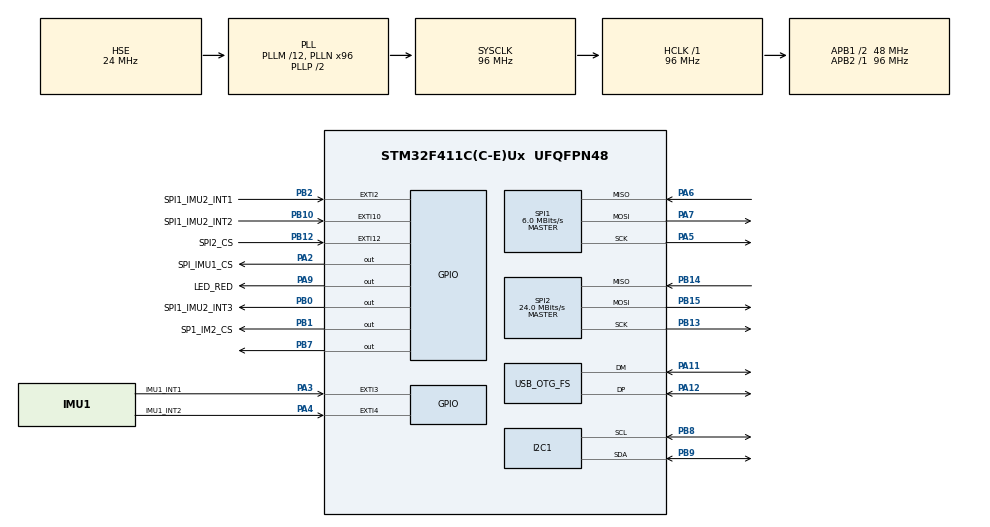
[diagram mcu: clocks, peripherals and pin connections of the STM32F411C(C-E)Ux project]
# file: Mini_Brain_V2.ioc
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Mcu.Family=STM32F4
Mcu.Name=STM32F411C(C-E)Ux
Mcu.Package=UFQFPN48
NVIC.OTG_FS_IRQn=true\:0\:0\:false\:false\:true\:false\:true\:true
NVIC.PriorityGroup=NVIC_PRIORITYGROUP_4
NVIC.SPI1_IRQn=true\:0\:0\:false\:false\:true\:true\:true\:true
PA11.Mode=Device_Only
PA11.Signal=USB_OTG_FS_DM
PA12.Mode=Device_Only
PA12.Signal=USB_OTG_FS_DP
PA13.Mode=Trace_Asynchronous_SW
PA13.Signal=SYS_JTMS-SWDIO
PA14.Mode=Trace_Asynchronous_SW
PA14.Signal=SYS_JTCK-SWCLK
PA2.GPIO_Label=SPI_IMU1_CS
PA2.GPIO_PuPd=GPIO_NOPULL
PA2.GPIO_Speed=GPIO_SPEED_FREQ_LOW
PA2.PinState=GPIO_PIN_RESET
PA2.Signal=GPIO_Output
PA3.GPIO_Label=IMU1_INT1
PA3.Signal=GPXTI3
PA4.GPIO_Label=IMU1_INT2
PA4.Signal=GPXTI4
PA5.GPIO_Speed=GPIO_SPEED_FREQ_LOW
PA5.Mode=Full_Duplex_Master
PA5.Signal=SPI1_SCK
PA6.GPIO_Speed=GPIO_SPEED_FREQ_LOW
PA6.Mode=Full_Duplex_Master
PA6.Signal=SPI1_MISO
PA7.GPIO_Speed=GPIO_SPEED_FREQ_LOW
PA7.Mode=Full_Duplex_Master
PA7.Signal=SPI1_MOSI
PA9.GPIO_Label=LED_RED
PA9.Signal=GPIO_Output
PB0.GPIO_Label=SPI1_IMU2_INT3
PB0.Signal=GPIO_Output
PB1.GPIO_Label=SP1_IM2_CS
PB1.GPIO_Speed=GPIO_SPEED_FREQ_LOW
PB1.PinState=GPIO_PIN_SET
PB1.Signal=GPIO_Output
PB10.GPIO_Label=SPI1_IMU2_INT2
PB10.Signal=GPXTI10
PB12.GPIO_Label=SPI2_CS
PB12.Signal=GPXTI12
PB13.Mode=Full_Duplex_Master
PB13.Signal=SPI2_SCK
PB14.Mode=Full_Duplex_Master
PB14.Signal=SPI2_MISO
PB15.Mode=Full_Duplex_Master
PB15.Signal=SPI2_MOSI
PB2.GPIO_Label=SPI1_IMU2_INT1
PB2.Signal=GPXTI2
PB3.Mode=Trace_Asynchronous_SW
PB3.Signal=SYS_JTDO-SWO
PB6.Signal=USART1_TX
PB7.Signal=GPIO_Output
PB8.Mode=I2C
PB8.Signal=I2C1_SCL
PB9.Mode=I2C
PB9.Signal=I2C1_SDA
PH0\ -\ OSC_IN.Mode=HSE-External-Oscillator
PH0\ -\ OSC_IN.Signal=RCC_OSC_IN
PH1\ -\ OSC_OUT.Mode=HSE-External-Oscillator
PH1\ -\ OSC_OUT.Signal=RCC_OSC_OUT
ProjectManager.HeapSize=0x200
ProjectManager.StackSize=0x400
ProjectManager.TargetToolchain=STM32CubeIDE
RCC.48MHZClocksFreq_Value=48000000
RCC.AHBFreq_Value=96000000
RCC.APB1CLKDivider=RCC_HCLK_DIV2
RCC.APB1Freq_Value=48000000
RCC.APB1TimFreq_Value=96000000
RCC.APB2Freq_Value=96000000
RCC.APB2TimFreq_Value=96000000
RCC.CortexFreq_Value=96000000
RCC.HCLKFreq_Value=96000000
RCC.HSE_VALUE=24000000
RCC.HSI_VALUE=16000000
RCC.LSE_VALUE=32768
RCC.PLLM=12
RCC.PLLN=96
RCC.SYSCLKFreq_VALUE=96000000
RCC.SYSCLKSource=RCC_SYSCLKSOURCE_PLLCLK
RCC.VCOOutputFreq_Value=192000000
SPI1.BaudRatePrescaler=SPI_BAUDRATEPRESCALER_16
SPI1.CLKPolarity=SPI_POLARITY_LOW
SPI1.CalculateBaudRate=6.0 MBits/s
SPI1.Direction=SPI_DIRECTION_2LINES
SPI1.Mode=SPI_MODE_MASTER
SPI1.VirtualType=VM_MASTER
SPI2.BaudRatePrescaler=SPI_BAUDRATEPRESCALER_2
SPI2.CalculateBaudRate=24.0 MBits/s
SPI2.Direction=SPI_DIRECTION_2LINES
SPI2.Mode=SPI_MODE_MASTER
SPI2.VirtualType=VM_MASTER
USB_DEVICE.CLASS_NAME_FS=CDC
USB_DEVICE.VirtualMode=Cdc
USB_DEVICE.VirtualModeFS=Cdc_FS
USB_OTG_FS.VirtualMode=Device_Only
VP_USB_DEVICE_VS_USB_DEVICE_CDC_FS.Mode=CDC_FS
board=custom

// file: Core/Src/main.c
/* USER CODE BEGIN Header */
/**
  ******************************************************************************
  * @file           : main.c
  * @brief          : Main program body
  ******************************************************************************
  * @attention
  *
  * Copyright (c) 2023 STMicroelectronics.
  * All rights reserved.
  *
  * This software is licensed under terms that can be found in the LICENSE file
  * in the root directory of this software component.
  * If no LICENSE file comes with this software, it is provided AS-IS.
  *
  ******************************************************************************
  */
/* USER CODE END Header */
#include "main.h"
#include "usb_device.h"

/* USER CODE BEGIN Includes */
#include "usbd_cdc_if.h"
#include "BMI270.h"
#include "BMI088.h"
/* USER CODE END Includes */

I2C_HandleTypeDef hi2c1;

SPI_HandleTypeDef hspi1;
SPI_HandleTypeDef hspi2;

/* USER CODE BEGIN PV */
BMI270 imu;
BMI088 imu1;
/* USER CODE END PV */

void SystemClock_Config(void);
static void MX_GPIO_Init(void);
static void MX_I2C1_Init(void);
static void MX_SPI1_Init(void);
static void MX_SPI2_Init(void);
/* USER CODE BEGIN PFP */
uint8_t BMI088_GyrRead8(uint8_t addr, uint8_t *data);
uint8_t BMI270_Read8(uint8_t addr, uint8_t *data);

/* USER CODE END PFP */

int main(void)
{

  /* MCU Configuration--------------------------------------------------------*/

  /* Reset of all peripherals, Initializes the Flash interface and the Systick. */
  HAL_Init();

  /* Configure the system clock */
  SystemClock_Config();

  /* Initialize all configured peripherals */
  MX_GPIO_Init();
  MX_I2C1_Init();
  MX_SPI1_Init();
  MX_SPI2_Init();
  MX_USB_DEVICE_Init();
  /* USER CODE BEGIN 2 */

  BMI270_Init(&imu, &hspi1, GPIOA, SPI_IMU1_CS_Pin);
 // BMI088_Init(&imu1, &hspi1,SP1_IM2_CS_GPIO_Port,SP1_IM2_CS_Pin);

  char txbuf[8];
  uint8_t counter =1;
  uint8_t status = 0;
  int16_t acc_x,acc_x1;
  uint8_t data,data1 ;

  /* USER CODE END 2 */

  /* Infinite loop */
  /* USER CODE BEGIN WHILE */
  while (1)
  {

	  status = BMI270_ReadAccelerometer(&imu);
	  acc_x = imu.acc_mps2[0];
	  BMI270_ReadRegister(&imu, BMI270_REG_PWR_CTRL, &counter);
	  //uint8_t data[20]="fuck you\n\r";
	  //HAL_UART_Transmit(&huart1, data, 20, 200);
	  //BMI088_GyrRead8(0X00, &data);

  	  HAL_Delay(10);

  	  //status += BMI088_ReadAccelerometer(&imu1);
  	  //acc_x1= imu1.acc_mps2[1];
  	HAL_Delay(10);

  	BMI270_ReadRegister(&imu, 0xd, &data);
    /* USER CODE END WHILE */

  }
}

void SystemClock_Config(void)
{
  RCC_OscInitTypeDef RCC_OscInitStruct = {0};
  RCC_ClkInitTypeDef RCC_ClkInitStruct = {0};

  /** Configure the main internal regulator output voltage
  */
  __HAL_RCC_PWR_CLK_ENABLE();
  __HAL_PWR_VOLTAGESCALING_CONFIG(PWR_REGULATOR_VOLTAGE_SCALE1);

  /** Initializes the RCC Oscillators according to the specified parameters
  * in the RCC_OscInitTypeDef structure.
  */
  RCC_OscInitStruct.OscillatorType = RCC_OSCILLATORTYPE_HSE;
  RCC_OscInitStruct.HSEState = RCC_HSE_ON;
  RCC_OscInitStruct.PLL.PLLState = RCC_PLL_ON;
  RCC_OscInitStruct.PLL.PLLSource = RCC_PLLSOURCE_HSE;
  RCC_OscInitStruct.PLL.PLLM = 12;
  RCC_OscInitStruct.PLL.PLLN = 96;
  RCC_OscInitStruct.PLL.PLLP = RCC_PLLP_DIV2;
  RCC_OscInitStruct.PLL.PLLQ = 4;
  if (HAL_RCC_OscConfig(&RCC_OscInitStruct) != HAL_OK)
  {
    Error_Handler();
  }

  /** Initializes the CPU, AHB and APB buses clocks
  */
  RCC_ClkInitStruct.ClockType = RCC_CLOCKTYPE_HCLK|RCC_CLOCKTYPE_SYSCLK
                              |RCC_CLOCKTYPE_PCLK1|RCC_CLOCKTYPE_PCLK2;
  RCC_ClkInitStruct.SYSCLKSource = RCC_SYSCLKSOURCE_PLLCLK;
  RCC_ClkInitStruct.AHBCLKDivider = RCC_SYSCLK_DIV1;
  RCC_ClkInitStruct.APB1CLKDivider = RCC_HCLK_DIV2;
  RCC_ClkInitStruct.APB2CLKDivider = RCC_HCLK_DIV1;

  if (HAL_RCC_ClockConfig(&RCC_ClkInitStruct, FLASH_LATENCY_3) != HAL_OK)
  {
    Error_Handler();
  }
}

static void MX_I2C1_Init(void)
{

  hi2c1.Instance = I2C1;
  hi2c1.Init.ClockSpeed = 100000;
  hi2c1.Init.DutyCycle = I2C_DUTYCYCLE_2;
  hi2c1.Init.OwnAddress1 = 0;
  hi2c1.Init.AddressingMode = I2C_ADDRESSINGMODE_7BIT;
  hi2c1.Init.DualAddressMode = I2C_DUALADDRESS_DISABLE;
  hi2c1.Init.OwnAddress2 = 0;
  hi2c1.Init.GeneralCallMode = I2C_GENERALCALL_DISABLE;
  hi2c1.Init.NoStretchMode = I2C_NOSTRETCH_DISABLE;
  if (HAL_I2C_Init(&hi2c1) != HAL_OK)
  {
    Error_Handler();
  }

}

static void MX_SPI1_Init(void)
{

  /* SPI1 parameter configuration*/
  hspi1.Instance = SPI1;
  hspi1.Init.Mode = SPI_MODE_MASTER;
  hspi1.Init.Direction = SPI_DIRECTION_2LINES;
  hspi1.Init.DataSize = SPI_DATASIZE_8BIT;
  hspi1.Init.CLKPolarity = SPI_POLARITY_LOW;
  hspi1.Init.CLKPhase = SPI_PHASE_1EDGE;
  hspi1.Init.NSS = SPI_NSS_SOFT;
  hspi1.Init.BaudRatePrescaler = SPI_BAUDRATEPRESCALER_16;
  hspi1.Init.FirstBit = SPI_FIRSTBIT_MSB;
  hspi1.Init.TIMode = SPI_TIMODE_DISABLE;
  hspi1.Init.CRCCalculation = SPI_CRCCALCULATION_DISABLE;
  hspi1.Init.CRCPolynomial = 10;
  if (HAL_SPI_Init(&hspi1) != HAL_OK)
  {
    Error_Handler();
  }

}

static void MX_SPI2_Init(void)
{

  /* SPI2 parameter configuration*/
  hspi2.Instance = SPI2;
  hspi2.Init.Mode = SPI_MODE_MASTER;
  hspi2.Init.Direction = SPI_DIRECTION_2LINES;
  hspi2.Init.DataSize = SPI_DATASIZE_8BIT;
  hspi2.Init.CLKPolarity = SPI_POLARITY_LOW;
  hspi2.Init.CLKPhase = SPI_PHASE_1EDGE;
  hspi2.Init.NSS = SPI_NSS_SOFT;
  hspi2.Init.BaudRatePrescaler = SPI_BAUDRATEPRESCALER_2;
  hspi2.Init.FirstBit = SPI_FIRSTBIT_MSB;
  hspi2.Init.TIMode = SPI_TIMODE_DISABLE;
  hspi2.Init.CRCCalculation = SPI_CRCCALCULATION_DISABLE;
  hspi2.Init.CRCPolynomial = 10;
  if (HAL_SPI_Init(&hspi2) != HAL_OK)
  {
    Error_Handler();
  }

}

static void MX_GPIO_Init(void)
{
  GPIO_InitTypeDef GPIO_InitStruct = {0};

  /* GPIO Ports Clock Enable */
  __HAL_RCC_GPIOH_CLK_ENABLE();
  __HAL_RCC_GPIOA_CLK_ENABLE();
  __HAL_RCC_GPIOB_CLK_ENABLE();

  /*Configure GPIO pin Output Level */
  HAL_GPIO_WritePin(GPIOA, SPI_IMU1_CS_Pin|LED_RED_Pin, GPIO_PIN_RESET);

  /*Configure GPIO pin Output Level */
  HAL_GPIO_WritePin(GPIOB, SPI1_IMU2_INT3_Pin|GPIO_PIN_7, GPIO_PIN_RESET);

  /*Configure GPIO pin Output Level */
  HAL_GPIO_WritePin(SP1_IM2_CS_GPIO_Port, SP1_IM2_CS_Pin, GPIO_PIN_SET);

  /*Configure GPIO pins : SPI_IMU1_CS_Pin LED_RED_Pin */
  GPIO_InitStruct.Pin = SPI_IMU1_CS_Pin|LED_RED_Pin;
  GPIO_InitStruct.Mode = GPIO_MODE_OUTPUT_PP;
  GPIO_InitStruct.Pull = GPIO_NOPULL;
  GPIO_InitStruct.Speed = GPIO_SPEED_FREQ_LOW;
  HAL_GPIO_Init(GPIOA, &GPIO_InitStruct);

  /*Configure GPIO pins : IMU1_INT1_Pin IMU1_INT2_Pin */
  GPIO_InitStruct.Pin = IMU1_INT1_Pin|IMU1_INT2_Pin;
  GPIO_InitStruct.Mode = GPIO_MODE_IT_RISING;
  GPIO_InitStruct.Pull = GPIO_NOPULL;
  HAL_GPIO_Init(GPIOA, &GPIO_InitStruct);

  /*Configure GPIO pins : SPI1_IMU2_INT3_Pin SP1_IM2_CS_Pin PB7 */
  GPIO_InitStruct.Pin = SPI1_IMU2_INT3_Pin|SP1_IM2_CS_Pin|GPIO_PIN_7;
  GPIO_InitStruct.Mode = GPIO_MODE_OUTPUT_PP;
  GPIO_InitStruct.Pull = GPIO_NOPULL;
  GPIO_InitStruct.Speed = GPIO_SPEED_FREQ_LOW;
  HAL_GPIO_Init(GPIOB, &GPIO_InitStruct);

  /*Configure GPIO pins : SPI1_IMU2_INT1_Pin SPI1_IMU2_INT2_Pin SPI2_CS_Pin */
  GPIO_InitStruct.Pin = SPI1_IMU2_INT1_Pin|SPI1_IMU2_INT2_Pin|SPI2_CS_Pin;
  GPIO_InitStruct.Mode = GPIO_MODE_IT_RISING;
  GPIO_InitStruct.Pull = GPIO_NOPULL;
  HAL_GPIO_Init(GPIOB, &GPIO_InitStruct);

  /*Configure GPIO pin : PB6 */
  GPIO_InitStruct.Pin = GPIO_PIN_6;
  GPIO_InitStruct.Mode = GPIO_MODE_AF_PP;
  GPIO_InitStruct.Pull = GPIO_NOPULL;
  GPIO_InitStruct.Speed = GPIO_SPEED_FREQ_VERY_HIGH;
  GPIO_InitStruct.Alternate = GPIO_AF7_USART1;
  HAL_GPIO_Init(GPIOB, &GPIO_InitStruct);

}

/* USER CODE BEGIN 4 */
uint8_t BMI088_GyrRead8(uint8_t addr, uint8_t *data){

	uint8_t txBuf[3] = {(addr | 0x80), 0x00,0X00};
	uint8_t rxBuf[3];

	HAL_GPIO_WritePin(GPIOB, SP1_IM2_CS_Pin, GPIO_PIN_RESET);
	uint8_t status= (HAL_SPI_TransmitReceive(&hspi1, txBuf, rxBuf,3 ,HAL_MAX_DELAY) == HAL_OK );
	//uint8_t status= (HAL_SPI_Receive(&hspi1, rxBuf,1 ,HAL_MAX_DELAY) == HAL_OK );

	HAL_GPIO_WritePin(GPIOB, SP1_IM2_CS_Pin, GPIO_PIN_SET);

	*data = rxBuf[2];

	return status;
}

uint8_t BMI270_Read8(uint8_t addr, uint8_t *data){

	uint8_t rxBuf[3];
	uint8_t txBuf[3] = {(addr | 0x80), 0x00, 0x00 };

	HAL_GPIO_WritePin(SPI_IMU1_CS_GPIO_Port, SPI_IMU1_CS_Pin, GPIO_PIN_RESET);
	//HAL_Delay(10);
	uint8_t status= (HAL_SPI_TransmitReceive(&hspi1,txBuf, rxBuf,3 , HAL_MAX_DELAY) == HAL_OK);
	//HAL_Delay(1);

	HAL_GPIO_WritePin(SPI_IMU1_CS_GPIO_Port, SPI_IMU1_CS_Pin, GPIO_PIN_SET);

		*data= rxBuf[2];

	return status;

}

/* USER CODE END 4 */

void Error_Handler(void)
{
  __disable_irq();
  while (1)
  {
  }
}
